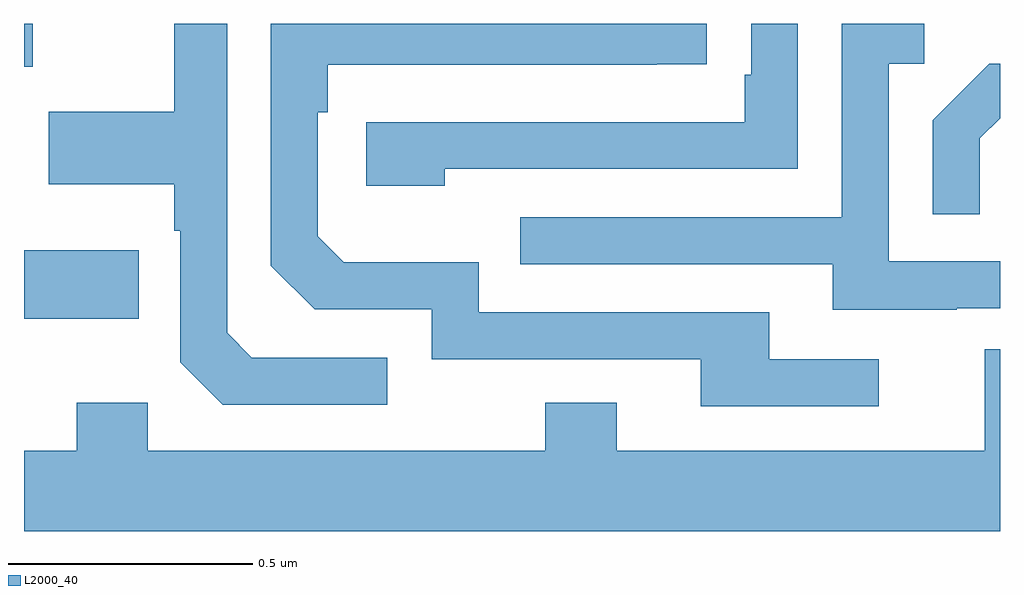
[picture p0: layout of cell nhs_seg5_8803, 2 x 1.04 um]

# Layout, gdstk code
import gdstk
lib = gdstk.Library(unit=1e-6, precision=1e-09)
def R(c, l, rs):  # rectangles x0, y0, x1, y1
    for r in rs: c.add(gdstk.rectangle(r[:2], r[2:], *l))
def P(c, l, *ps):  # polygons
    for p in ps: c.add(gdstk.Polygon(p, *l))
L2000_40 = (2000, 40)

nhs_seg5_8803 = lib.new_cell('nhs_seg5_8803')
R(nhs_seg5_8803, L2000_40, [(226,857.195,226.235,857.335), (226,857.711,226.018,857.799)])
P(nhs_seg5_8803, L2000_40, [(227.911,857.217),(228,857.217),(228,857.313),(227.772,857.313),(227.772,857.718),(227.845,857.718),(227.845,857.799),(227.676,857.799),(227.676,857.403),(227.017,857.403),(227.017,857.307),(227.657,857.307),(227.657,857.213),(227.911,857.213)],
  [(227.752,857.112),(227.527,857.112),(227.527,857.208),(226.932,857.208),(226.932,857.311),(226.655,857.311),(226.602,857.364),(226.602,857.618),(226.622,857.618),(226.622,857.715),(227.297,857.715),(227.297,857.716),(227.399,857.716),(227.399,857.799),(226.506,857.799),(226.506,857.304),(226.596,857.214),(226.836,857.214),(226.836,857.112),(227.387,857.112),(227.387,857.016),(227.752,857.016)],
  [(226.862,857.502),(227.586,857.502),(227.586,857.799),(227.49,857.799),(227.49,857.695),(227.477,857.695),(227.477,857.598),(226.701,857.598),(226.701,857.468),(226.862,857.468)],
  [(226.744,857.115),(226.467,857.115),(226.416,857.166),(226.416,857.799),(226.308,857.799),(226.308,857.619),(226.051,857.619),(226.051,857.471),(226.308,857.471),(226.308,857.375),(226.32,857.375),(226.32,857.106),(226.407,857.019),(226.744,857.019)],
  [(227.959,857.565),(228,857.606),(228,857.718),(227.978,857.718),(227.862,857.602),(227.862,857.409),(227.959,857.409)],
  [(228,857.132),(227.969,857.132),(227.969,856.924),(227.215,856.924),(227.215,857.023),(227.068,857.023),(227.068,856.924),(226.254,856.924),(226.254,857.023),(226.108,857.023),(226.108,856.924),(226,856.924),(226,856.76),(228,856.76)])

lib.write_gds('nhs_seg5_8803.gds')
